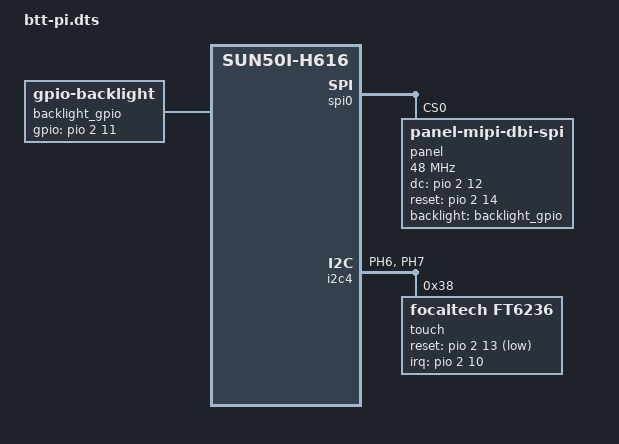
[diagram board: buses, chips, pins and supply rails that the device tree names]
/dts-v1/;
/plugin/;

/ {
        compatible = "allwinner,sun50i-h616";

        fragment@0 {
                target-path = "/aliases";
                __overlay__ {
			spi0 = "/soc/spi@5010000";
                        spi1 = "/soc/spi@5011000";
			i2c4 = "/soc/i2c@5003000";
			i2c2 = "/soc/i2c@5002800";
			pio = "/soc/pinctrl@300b000";
                };
        };

	fragment@1 {
		target = <&spi1>;
		__overlay__ {
			status = "disabled";
		};
	};

        fragment@2 {
                target = <&spi0>;
                __overlay__ {
                        #address-cells = <1>;
                        #size-cells = <0>;
                        status = "okay";

                        panel: panel@0 {
                                compatible = "panel-mipi-dbi-spi";
                                reg = <0>;
                                spi-max-frequency = <48000000>;

                                dc-gpios = <&pio 2 12 0>;
                                reset-gpios = <&pio 2 14 0>;
                                write-only;

                                format = "b6x2g6x2r6x2";

                                backlight = <&backlight_gpio>;

                                width-mm = <73>;
                                height-mm = <49>;

                                panel-timing {
                                        hactive = <480>;
                                        vactive = <320>;
                                        hback-porch = <0>;
                                        vback-porch = <0>;
                                        clock-frequency = <0>;
                                        hfront-porch = <0>;
                                        hsync-len = <0>;
                                        vfront-porch = <0>;
                                        vsync-len = <0>;
                                };
                        };
                };
        };

	fragment@3 {
		target-path = "/";
		__overlay__ {
			backlight_gpio: backlight_gpio {
				compatible = "gpio-backlight";
				gpios = <&pio 2 11 0>;
				default-on;
			};
		};
	};

	fragment@4 {
		target = <&i2c4>;
		__overlay__ {
			#address-cells = <1>;
			#size-cells = <0>;
			status = "okay";
			pinctrl-names = "default";
			pinctrl-0 = <&i2c4_ph_pins>;

			touch@38 {
				compatible = "focaltech,ft6236";
				status = "okay";
				reg = <0x38>;
				reset-gpios = <&pio 2 13 1>;
				interrupt-parent = <&pio>;
				interrupts = <2 10 2>;
				
				touchscreen-size-x = <320>;
				touchscreen-size-y = <480>;
			};
		};
	};

	fragment@5 {
		target = <&pio>;
		__overlay__ {
			i2c2_ph_pins: i2c2_ph_pins {
				pins = "PH2", "PH3";
				function = "i2c2";
			};
		};
	};

        fragment@6 {
                target = <&pio>;
                __overlay__ {
                        i2c4_ph_pins: i2c4_ph_pins {
                                pins = "PH6", "PH7";
                                function = "i2c4";
                        };
                };
        };
};
